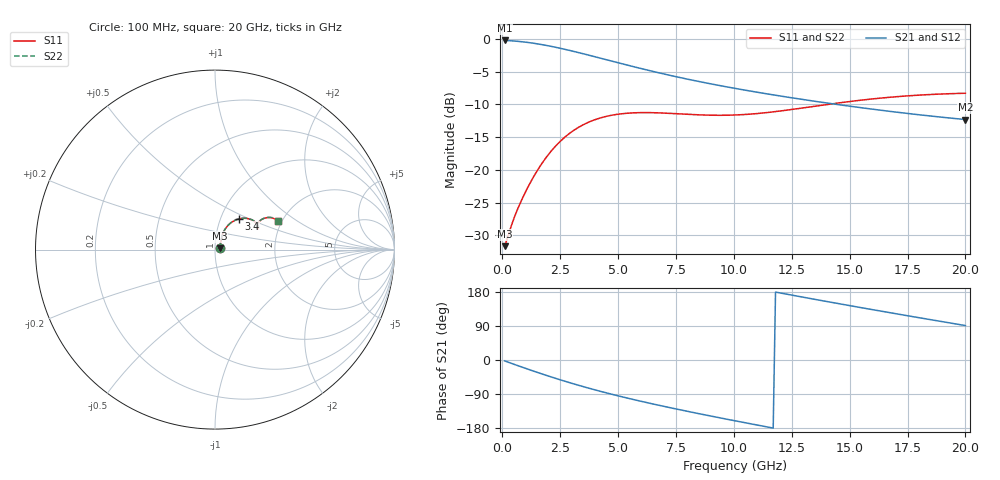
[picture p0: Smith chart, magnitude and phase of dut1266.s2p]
! Touchstone file exported from HFSS 2024.1.0
!  File:  C:/UserFiles/LocalFiles/RDL_TSV_Batchsim/temp_RDL_TSV_1266_1780273512.aedt
!  Generated:  08:47:51 AM Jun  1, 2026
!  Design:  RDL_TSV
!  Project:  temp_RDL_TSV_1266_1780273512
!  Setup:  Setup1
!  Solution:  Sweep
! Variables:
!  dtsv = 6.33um
!  hbump = 3um
!  htsv = 95.44um
!  ldown = 391.49um
!  lrdl = 655.43um
!  p = 40
!  p1 = 57.9um
!  rhole = 10um
!  subl = 3796.19um
!  t = 450um
!  tdown = 2.17um
!  trdl = 2.49um
!  viad = 10um
!  wdown = 24.47um
!  wrdl = 23.43um
!  xbump = 18um
# GHz S MA R 50.000000
! Terminal data exported
! Port[1] = TM1_1_T1
! Port[2] = TM1_4_T1
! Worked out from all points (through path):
!   200 points, 100 MHz to 20 GHz, reference 50 ohm
!   highest |S21| = -0.22 dB at 100 MHz (marker M1); lowest = -12.3 dB at 20 GHz (marker M2)
!   group delay of S21, straight-line fit = 35.5 ps
!   lowest |S11| = -31.6 dB at 100 MHz (marker M3), VSWR 1.05, Z = 52.6 + j0.715 ohm
!   |S11| at or under -10 dB: start of sweep to 14.04 GHz
!   |S22| runs from -31.6 to -8.2 dB; largest |S21 - S12| = 1e-14
!   S11 on the Smith chart (normalised r, x): 100 MHz: 1.05, +0.01; 3.4 GHz: 1.22, +0.44; 20 GHz: 1.91, +0.71
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0.1  0.02617 15.0  0.9745 -2.3  0.9745 -2.3  0.02617 15.0
! Gamma 0 0 0 0
! Port Impedance 50 0 50 0
0.5  0.04252 46.0  0.9655 -11.2  0.9655 -11.2  0.04251 46.0
0.7  0.0521 52.7  0.9587 -15.6  0.9587 -15.6  0.05208 52.8
1.1  0.07351 60.7  0.9413 -24.1  0.9413 -24.1  0.0735 60.8
1.6  0.1047 64.0  0.913 -34.5  0.913 -34.5  0.1048 64.2
2  0.1317 63.4  0.8864 -42.5  0.8864 -42.5  0.1318 63.6
2.5  0.1652 60.3  0.8496 -52.2  0.8496 -52.2  0.1655 60.5
2.9  0.19 56.9  0.8185 -59.7  0.8185 -59.7  0.1904 57.0
3.4  0.2169 52.0  0.779 -68.6  0.779 -68.6  0.2175 52.2
3.5  0.2216 51.0  0.771 -70.4  0.771 -70.4  0.2222 51.2
4.2  0.2485 44.2  0.7167 -82.1  0.7167 -82.1  0.2493 44.4
5.1  0.2678 36.7  0.6517 -96.1  0.6517 -96.1  0.2689 36.9
5.9  0.2738 31.6  0.6002 -107.7  0.6002 -107.7  0.2751 31.8
6.8  0.2726 27.8  0.5497 -120.0  0.5497 -120.0  0.274 27.9
8.3  0.2643 25.7  0.481 -139.3  0.481 -139.3  0.2658 25.8
10.1  0.2629 28.2  0.418 -161.0  0.418 -161.0  0.2644 28.3
11.6  0.2762 31.2  0.3767 -178.5  0.3767 -178.5  0.2777 31.2
13.4  0.3048 32.8  0.3364 161.1  0.3364 161.1  0.3063 32.9
15  0.3329 32.0  0.3068 143.5  0.3068 143.5  0.3347 32.1
16.7  0.3585 29.7  0.2806 125.3  0.2806 125.3  0.3604 29.8
18.3  0.3753 27.0  0.2602 108.4  0.2602 108.4  0.3775 27.1
20  0.3851 24.0  0.2425 90.9  0.2425 90.9  0.3875 24.2
